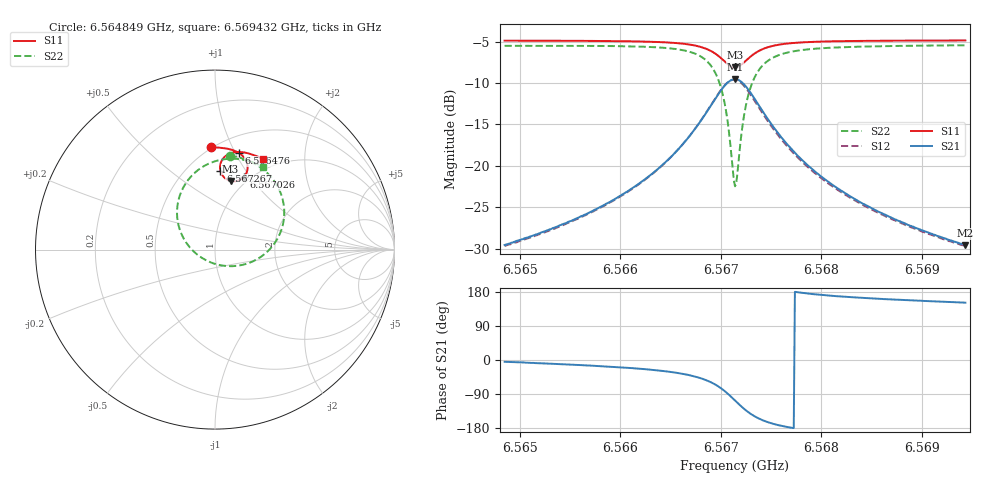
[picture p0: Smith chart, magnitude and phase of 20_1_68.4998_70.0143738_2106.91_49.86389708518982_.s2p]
#  HZ  S  RI  R  50.00
! Rohde & Schwarz Vector Network Analyzer
! Rohde-Schwarz,ZNB20-2Port,1311601062101988,3.16
! Created: UTC 3/20/2024, 4:49:22 PM
! freq[Hz]  re:S11  im:S11  re:S21  im:S21  re:S12  im:S12  re:S22  im:S22
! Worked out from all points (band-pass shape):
!   401 points, 6.564849 GHz to 6.569432 GHz, reference 50 ohm
!   highest |S21| = -9.54 dB at 6.567141 GHz (marker M1); lowest = -29.6 dB at 6.569432 GHz (marker M2)
!   |S21| within 3 dB of the highest: 6.566911 GHz to 6.567369 GHz (459 kHz wide, 0.00699 % of centre)
!   lowest |S11| = -8.1 dB at 6.567141 GHz (marker M3), VSWR 2.29, Z = 43.2 + j39 ohm
!   |S11| at or under -10 dB: nowhere
!   |S22| runs from -22.5 to -5.4 dB; largest |S21 - S12| = 0.018
!   S11 on the Smith chart (normalised r, x): 6.564849 GHz: 0.49, +0.83; 6.566476 GHz: 0.66, +1.03; 6.567026 GHz: 0.93, +0.93; 6.567267 GHz: 0.71, +0.78; 6.569432 GHz: 0.86, +1.28
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6.5648489e9  -0.0231 0.569  0.0332 -0.00277  0.0326 -0.00337  0.0822 0.5236
6.5656166e9  0.0424 0.5664  0.0484 -0.0117  0.0477 -0.0122  0.1631 0.5041
6.5660291e9  0.0813 0.5594  0.0637 -0.0229  0.0625 -0.0236  0.2192 0.4793
6.5663844e9  0.1204 0.5455  0.0858 -0.0453  0.0846 -0.0463  0.2844 0.4335
6.566476e9  0.1319 0.5392  0.0938 -0.0556  0.0925 -0.057  0.3052 0.4125
6.5666938e9  0.1614 0.5141  0.116 -0.0991  0.1143 -0.1014  0.3606 0.3274
6.5668542e9  0.18 0.4757  0.125 -0.1674  0.1215 -0.1714  0.3856 0.1955
6.5669573e9  0.1781 0.4345  0.1031 -0.2398  0.0956 -0.2451  0.3462 0.0576
6.5670261e9  0.159 0.403  0.055 -0.2936  0.043 -0.2975  0.2546 -0.0412
6.5670834e9  0.1275 0.3838  -0.0133 -0.3234  -0.029 -0.3228  0.1261 -0.0901
6.5671178e9  0.1034 0.3804  -0.0628 -0.3259  -0.0792 -0.3209  0.0359 -0.0881
6.5671407e9  0.0868 0.3825  -0.0962 -0.3191  -0.1121 -0.3113  -0.0233 -0.0716
6.5671636e9  0.071 0.3881  -0.1279 -0.3061  -0.1422 -0.2956  -0.0774 -0.0433
6.5672209e9  0.0413 0.414  -0.1877 -0.2524  -0.1962 -0.2377  -0.1741 0.0611
6.5672667e9  0.0299 0.44  -0.2116 -0.2012  -0.2153 -0.1862  -0.2071 0.1546
6.5673584e9  0.0329 0.485  -0.2131 -0.114  -0.211 -0.1028  -0.1942 0.3065
6.5674959e9  0.0604 0.5224  -0.1759 -0.0423  -0.1717 -0.036  -0.1142 0.4267
6.5676563e9  0.0926 0.539  -0.1354 -0.00803  -0.1318 -0.00478  -0.0306 0.4809
6.5679084e9  0.1315 0.5441  -0.0949 0.00986  -0.0925 0.0113  0.0578 0.5043
6.5682751e9  0.1735 0.5393  -0.0642 0.0159  -0.0626 0.0165  0.1363 0.5035
6.5686762e9  0.2107 0.5288  -0.0463 0.0168  -0.0453 0.0171  0.193 0.4918
6.5694325e9  0.27 0.5033  -0.0291 0.0159  -0.0286 0.016  0.2688 0.4614
